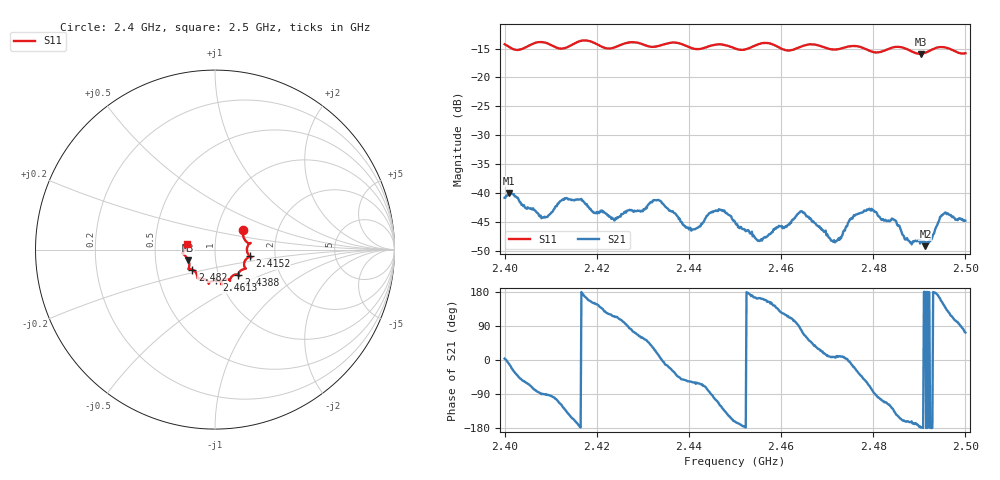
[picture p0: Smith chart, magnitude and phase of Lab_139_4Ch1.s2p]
# Hz S RI R 50
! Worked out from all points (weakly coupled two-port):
!   601 points, 2.4 GHz to 2.5 GHz, reference 50 ohm
!   highest |S21| = -39.98 dB at 2.401 GHz (marker M1); lowest = -49.2 dB at 2.4913 GHz (marker M2)
!   lowest |S11| = -15.9 dB at 2.4903 GHz (marker M3), VSWR 1.38, Z = 36.8 - j4.44 ohm
!   |S11| at or under -10 dB: start of sweep to end of sweep
!   S12 and S22 are empty: the file has one direction only
!   S11 on the Smith chart (normalised r, x): 2.4 GHz: 1.34, +0.31; 2.4152 GHz: 1.47, -0.11; 2.4388 GHz: 1.24, -0.36; 2.4613 GHz: 0.96, -0.34; 2.482 GHz: 0.76, -0.17; 2.5 GHz: 0.72, +0.05
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2.4e9  0.1584 0.1116  0.00905 0.000575  0 0  0 0
2.401e9  0.1562 0.0965  0.00983 -0.00197  0 0  0 0
2.4085e9  0.1978 0.0371  -4.64e-05 -0.00613  0 0  0 0
2.415167e9  0.1933 -0.0374  -0.00805 -0.00309  0 0  0 0
2.416667e9  0.2031 -0.0435  -0.00888 7.8e-05  0 0  0 0
2.423667e9  0.1621 -0.0807  -0.00254 0.0054  0 0  0 0
2.433333e9  0.1324 -0.1318  0.00845 0.00205  0 0  0 0
2.438833e9  0.1294 -0.1412  0.00327 -0.00415  0 0  0 0
2.446833e9  0.0841 -0.174  -0.00364 -0.00613  0 0  0 0
2.45e9  0.0688 -0.1645  -0.00537 -0.00169  0 0  0 0
2.455333e9  0.0348 -0.1922  -0.00368 0.00111  0 0  0 0
2.461333e9  0.0079 -0.1711  -0.00225 0.00474  0 0  0 0
2.464167e9  -0.0284 -0.1816  0.00086 0.00686  0 0  0 0
2.466667e9  -0.0346 -0.1904  0.004 0.00405  0 0  0 0
2.4715e9  -0.0601 -0.1637  0.00387 0.000561  0 0  0 0
2.476333e9  -0.0963 -0.16  0.00578 -0.00299  0 0  0 0
2.482e9  -0.126 -0.1113  -0.00176 -0.00565  0 0  0 0
2.483333e9  -0.1397 -0.1084  -0.00267 -0.00512  0 0  0 0
2.490333e9  -0.1488 -0.0588  -0.00387 -9.93e-05  0 0  0 0
2.491333e9  -0.1577 -0.0441  -0.00346 8.54e-05  0 0  0 0
2.495167e9  -0.1819 -0.0195  -0.00554 0.00349  0 0  0 0
2.5e9  -0.1587 0.0321  0.00174 0.00549  0 0  0 0
